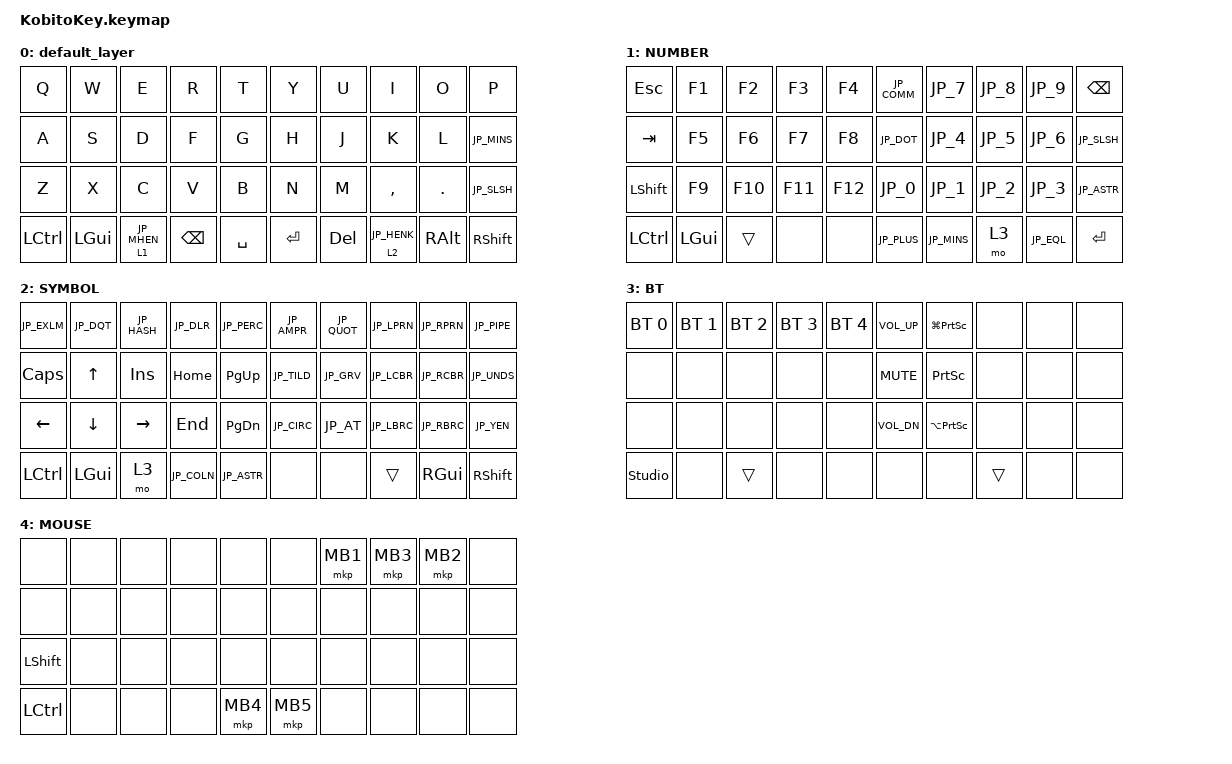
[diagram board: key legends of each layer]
#include <input/processors.dtsi>
#include <behaviors.dtsi>
#include <dt-bindings/zmk/bt.h>
#include <dt-bindings/zmk/keys.h>
#include <dt-bindings/zmk/pointing.h>
#include "jis_keys.h"

/ {
    combos {
        compatible = "zmk,combos";

        combo_eisu {
            timeout-ms = <50>;
            key-positions = <12 13>;
            bindings = <&kp JP_MHEN>;
        };

        combo_kana {
            timeout-ms = <50>;
            key-positions = <16 17>;
            bindings = <&kp JP_HENK>;
        };

        combo_esc {
            timeout-ms = <50>;
            key-positions = <0 1>;
            bindings = <&kp ESC>;
        };

        combo_tab {
            timeout-ms = <50>;
            key-positions = <10 11>;
            bindings = <&kp TAB>;
        };
    };

    keymap {
        compatible = "zmk,keymap";

        default_layer {
            bindings = <
&kp Q      &kp W      &kp E          &kp R      &kp T          &kp Y      &kp U     &kp I          &kp O      &kp P
&kp A      &kp S      &kp D          &kp F      &kp G          &kp H      &kp J     &kp K          &kp L      &kp JP_MINS
&kp Z      &kp X      &kp C          &kp V      &kp B          &kp N      &kp M     &kp COMMA      &kp DOT    &kp JP_SLSH
&kp LCTRL  &kp LGUI   &lt 1 JP_MHEN  &kp BSPC   &kp SPACE      &kp ENTER  &kp DEL   &lt 2 JP_HENK  &kp RALT   &kp RSHFT
            >;
        };

        layer1 {
            label = "NUMBER";
            bindings = <
&kp ESC      &kp F1     &kp F2    &kp F3    &kp F4       &kp JP_COMM    &kp JP_7      &kp JP_8   &kp JP_9     &kp BSPC
&kp TAB      &kp F5     &kp F6    &kp F7    &kp F8       &kp JP_DOT     &kp JP_4      &kp JP_5   &kp JP_6     &kp JP_SLSH
&kp LSHFT    &kp F9     &kp F10   &kp F11   &kp F12      &kp JP_0       &kp JP_1      &kp JP_2   &kp JP_3     &kp JP_ASTR
&kp LCTRL    &kp LGUI   &trans    &none     &none        &kp JP_PLUS    &kp JP_MINS   &mo 3      &kp JP_EQL   &kp ENTER
            >;
        };

        layer2 {
            label = "SYMBOL";
            bindings = <
&kp JP_EXLM   &kp JP_DQT   &kp JP_HASH   &kp JP_DLR     &kp JP_PERC        &kp JP_AMPR    &kp JP_QUOT   &kp JP_LPRN   &kp JP_RPRN   &kp JP_PIPE
&kp CAPS      &kp UP       &kp INS       &kp HOME       &kp PG_UP          &kp JP_TILD    &kp JP_GRV    &kp JP_LCBR   &kp JP_RCBR   &kp JP_UNDS
&kp LEFT      &kp DOWN     &kp RIGHT     &kp END        &kp PG_DN          &kp JP_CIRC    &kp JP_AT     &kp JP_LBRC   &kp JP_RBRC   &kp JP_YEN
&kp LCTRL     &kp LGUI     &mo 3         &kp JP_COLN    &kp JP_ASTR        &none          &none         &trans        &kp RGUI         &kp RSHFT
            >;
        };

        layer3 {
            label = "BT";
            bindings = <
&bt BT_SEL 0     &bt BT_SEL 1  &bt BT_SEL 2  &bt BT_SEL 3  &bt BT_SEL 4        &kp C_VOL_UP    &kp LG(PSCRN)   &none     &none     &none 
&none            &none         &none         &none         &none               &kp C_MUTE      &kp PSCRN       &none     &none     &none 
&none            &none         &none         &none         &none               &kp C_VOL_DN    &kp LA(PSCRN)   &none     &none     &none 
&studio_unlock   &none         &trans        &none         &none               &none           &none           &trans    &none     &none 
            >;
        };

        layer4 {
            label = "MOUSE";
            bindings = <
&none       &none    &none    &none    &none          &none      &mkp MB1   &mkp MB3   &mkp MB2   &none 
&none       &none    &none    &none    &none          &none      &none      &none      &none      &none 
&kp LSHFT   &none    &none    &none    &none          &none      &none      &none      &none      &none 
&kp LCTRL   &none    &none    &none    &mkp MB4       &mkp MB5   &none      &none      &none      &none 
            >;
        };
    };
};
